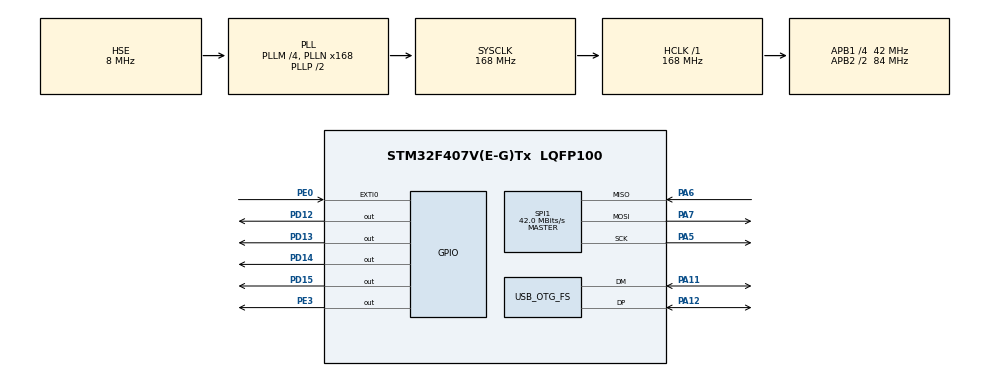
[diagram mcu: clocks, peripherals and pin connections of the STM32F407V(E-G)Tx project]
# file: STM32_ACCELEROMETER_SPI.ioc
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Mcu.Family=STM32F4
Mcu.Name=STM32F407V(E-G)Tx
Mcu.Package=LQFP100
NVIC.EXTI0_IRQn=true\:0\:0\:false\:false\:true\:true\:true\:true
NVIC.OTG_FS_IRQn=true\:0\:0\:false\:false\:true\:true\:true\:true
NVIC.PriorityGroup=NVIC_PRIORITYGROUP_0
PA11.Mode=Device_Only
PA11.Signal=USB_OTG_FS_DM
PA12.Mode=Device_Only
PA12.Signal=USB_OTG_FS_DP
PA13.Mode=Serial_Wire
PA13.Signal=SYS_JTMS-SWDIO
PA14.Mode=Serial_Wire
PA14.Signal=SYS_JTCK-SWCLK
PA5.Mode=Full_Duplex_Master
PA5.Signal=SPI1_SCK
PA6.Mode=Full_Duplex_Master
PA6.Signal=SPI1_MISO
PA7.Mode=Full_Duplex_Master
PA7.Signal=SPI1_MOSI
PD12.Signal=GPIO_Output
PD13.Signal=GPIO_Output
PD14.Signal=GPIO_Output
PD15.Signal=GPIO_Output
PE0.Signal=GPXTI0
PE3.PinState=GPIO_PIN_SET
PE3.Signal=GPIO_Output
PH0-OSC_IN.Mode=HSE-External-Oscillator
PH0-OSC_IN.Signal=RCC_OSC_IN
PH1-OSC_OUT.Mode=HSE-External-Oscillator
PH1-OSC_OUT.Signal=RCC_OSC_OUT
ProjectManager.HeapSize=0x200
ProjectManager.StackSize=0x400
ProjectManager.TargetToolchain=STM32CubeIDE
RCC.48MHZClocksFreq_Value=48000000
RCC.AHBFreq_Value=168000000
RCC.APB1CLKDivider=RCC_HCLK_DIV4
RCC.APB1Freq_Value=42000000
RCC.APB1TimFreq_Value=84000000
RCC.APB2CLKDivider=RCC_HCLK_DIV2
RCC.APB2Freq_Value=84000000
RCC.APB2TimFreq_Value=168000000
RCC.CortexFreq_Value=168000000
RCC.HCLKFreq_Value=168000000
RCC.HSE_VALUE=8000000
RCC.HSI_VALUE=16000000
RCC.LSE_VALUE=32768
RCC.PLLM=4
RCC.PLLN=168
RCC.PLLQ=7
RCC.SYSCLKFreq_VALUE=168000000
RCC.SYSCLKSource=RCC_SYSCLKSOURCE_PLLCLK
RCC.VCOOutputFreq_Value=336000000
SPI1.BaudRatePrescaler=SPI_BAUDRATEPRESCALER_2
SPI1.CalculateBaudRate=42.0 MBits/s
SPI1.Direction=SPI_DIRECTION_2LINES
SPI1.Mode=SPI_MODE_MASTER
SPI1.VirtualType=VM_MASTER
USB_DEVICE.CLASS_NAME_FS=CDC
USB_DEVICE.VirtualMode-CDC_FS=Cdc
USB_DEVICE.VirtualModeFS=Cdc_FS
USB_OTG_FS.VirtualMode=Device_Only
VP_USB_DEVICE_VS_USB_DEVICE_CDC_FS.Mode=CDC_FS
board=STM32F407G-DISC1

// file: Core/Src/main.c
/* USER CODE BEGIN Header */
/**
  ******************************************************************************
  * @file           : main.c
  * @brief          : Main program body
  ******************************************************************************
  * @attention
  *
  * Copyright (c) 2023 STMicroelectronics.
  * All rights reserved.
  *
  * This software is licensed under terms that can be found in the LICENSE file
  * in the root directory of this software component.
  * If no LICENSE file comes with this software, it is provided AS-IS.
  *
  ******************************************************************************
  */
/* USER CODE END Header */
#include "main.h"
#include "usb_device.h"

/* USER CODE BEGIN Includes */
#include "usbd_cdc_if.h"
/* USER CODE END Includes */

SPI_HandleTypeDef hspi1;

/* USER CODE BEGIN PV */
uint8_t buffer=0;
uint8_t g_data[1];
uint8_t datax=0;
uint8_t datay=0;
uint8_t dataz=0;
int x,y,z;

/* USER CODE END PV */

void SystemClock_Config(void);
static void MX_GPIO_Init(void);
static void MX_SPI1_Init(void);
/* USER CODE BEGIN PFP */
void write_acc(uint8_t address,uint8_t data)
{
	uint8_t l_address[2];
	l_address[0]=address;
	l_address[1]=data;
	HAL_GPIO_WritePin(GPIOE, GPIO_PIN_3, GPIO_PIN_RESET);
	HAL_SPI_Transmit(&hspi1, l_address, 2, 50);
	HAL_GPIO_WritePin(GPIOE, GPIO_PIN_3, GPIO_PIN_SET);

}
uint8_t read_acc(uint8_t address)
{
	uint8_t l_address[1];
	l_address[0]= address | 0x80;
	HAL_GPIO_WritePin(GPIOE, GPIO_PIN_3, GPIO_PIN_RESET);
	HAL_SPI_Transmit(&hspi1, l_address, 1, 50);
	HAL_SPI_Receive(&hspi1, g_data, 1, 50);
	HAL_GPIO_WritePin(GPIOE, GPIO_PIN_3, GPIO_PIN_SET);
	return g_data[0];

}

/* USER CODE END PFP */

int main(void)
{

  /* MCU Configuration--------------------------------------------------------*/

  /* Reset of all peripherals, Initializes the Flash interface and the Systick. */
  HAL_Init();

  /* Configure the system clock */
  SystemClock_Config();

  /* Initialize all configured peripherals */
  MX_GPIO_Init();
  MX_SPI1_Init();
  MX_USB_DEVICE_Init();
  /* USER CODE BEGIN 2 */
  write_acc(0x20, 0x17);
  buffer=read_acc(0x20);
  HAL_GPIO_WritePin(GPIOD, GPIO_PIN_15, GPIO_PIN_SET);
  write_acc(0x23, 0xC8);
  buffer=read_acc(0x23);

  /* USER CODE END 2 */

  /* Infinite loop */
  while (1)
  {

  }
}

void SystemClock_Config(void)
{
  RCC_OscInitTypeDef RCC_OscInitStruct = {0};
  RCC_ClkInitTypeDef RCC_ClkInitStruct = {0};

  /** Configure the main internal regulator output voltage
  */
  __HAL_RCC_PWR_CLK_ENABLE();
  __HAL_PWR_VOLTAGESCALING_CONFIG(PWR_REGULATOR_VOLTAGE_SCALE1);

  /** Initializes the RCC Oscillators according to the specified parameters
  * in the RCC_OscInitTypeDef structure.
  */
  RCC_OscInitStruct.OscillatorType = RCC_OSCILLATORTYPE_HSE;
  RCC_OscInitStruct.HSEState = RCC_HSE_ON;
  RCC_OscInitStruct.PLL.PLLState = RCC_PLL_ON;
  RCC_OscInitStruct.PLL.PLLSource = RCC_PLLSOURCE_HSE;
  RCC_OscInitStruct.PLL.PLLM = 4;
  RCC_OscInitStruct.PLL.PLLN = 168;
  RCC_OscInitStruct.PLL.PLLP = RCC_PLLP_DIV2;
  RCC_OscInitStruct.PLL.PLLQ = 7;
  if (HAL_RCC_OscConfig(&RCC_OscInitStruct) != HAL_OK)
  {
    Error_Handler();
  }

  /** Initializes the CPU, AHB and APB buses clocks
  */
  RCC_ClkInitStruct.ClockType = RCC_CLOCKTYPE_HCLK|RCC_CLOCKTYPE_SYSCLK
                              |RCC_CLOCKTYPE_PCLK1|RCC_CLOCKTYPE_PCLK2;
  RCC_ClkInitStruct.SYSCLKSource = RCC_SYSCLKSOURCE_PLLCLK;
  RCC_ClkInitStruct.AHBCLKDivider = RCC_SYSCLK_DIV1;
  RCC_ClkInitStruct.APB1CLKDivider = RCC_HCLK_DIV4;
  RCC_ClkInitStruct.APB2CLKDivider = RCC_HCLK_DIV2;

  if (HAL_RCC_ClockConfig(&RCC_ClkInitStruct, FLASH_LATENCY_5) != HAL_OK)
  {
    Error_Handler();
  }
}

static void MX_SPI1_Init(void)
{

  /* SPI1 parameter configuration*/
  hspi1.Instance = SPI1;
  hspi1.Init.Mode = SPI_MODE_MASTER;
  hspi1.Init.Direction = SPI_DIRECTION_2LINES;
  hspi1.Init.DataSize = SPI_DATASIZE_8BIT;
  hspi1.Init.CLKPolarity = SPI_POLARITY_LOW;
  hspi1.Init.CLKPhase = SPI_PHASE_1EDGE;
  hspi1.Init.NSS = SPI_NSS_SOFT;
  hspi1.Init.BaudRatePrescaler = SPI_BAUDRATEPRESCALER_2;
  hspi1.Init.FirstBit = SPI_FIRSTBIT_MSB;
  hspi1.Init.TIMode = SPI_TIMODE_DISABLE;
  hspi1.Init.CRCCalculation = SPI_CRCCALCULATION_DISABLE;
  hspi1.Init.CRCPolynomial = 10;
  if (HAL_SPI_Init(&hspi1) != HAL_OK)
  {
    Error_Handler();
  }

}

static void MX_GPIO_Init(void)
{
  GPIO_InitTypeDef GPIO_InitStruct = {0};

  /* GPIO Ports Clock Enable */
  __HAL_RCC_GPIOE_CLK_ENABLE();
  __HAL_RCC_GPIOH_CLK_ENABLE();
  __HAL_RCC_GPIOA_CLK_ENABLE();
  __HAL_RCC_GPIOD_CLK_ENABLE();

  /*Configure GPIO pin Output Level */
  HAL_GPIO_WritePin(GPIOE, GPIO_PIN_3, GPIO_PIN_SET);

  /*Configure GPIO pin Output Level */
  HAL_GPIO_WritePin(GPIOD, GPIO_PIN_12|GPIO_PIN_13|GPIO_PIN_14|GPIO_PIN_15, GPIO_PIN_RESET);

  /*Configure GPIO pin : PE3 */
  GPIO_InitStruct.Pin = GPIO_PIN_3;
  GPIO_InitStruct.Mode = GPIO_MODE_OUTPUT_PP;
  GPIO_InitStruct.Pull = GPIO_NOPULL;
  GPIO_InitStruct.Speed = GPIO_SPEED_FREQ_LOW;
  HAL_GPIO_Init(GPIOE, &GPIO_InitStruct);

  /*Configure GPIO pins : PD12 PD13 PD14 PD15 */
  GPIO_InitStruct.Pin = GPIO_PIN_12|GPIO_PIN_13|GPIO_PIN_14|GPIO_PIN_15;
  GPIO_InitStruct.Mode = GPIO_MODE_OUTPUT_PP;
  GPIO_InitStruct.Pull = GPIO_NOPULL;
  GPIO_InitStruct.Speed = GPIO_SPEED_FREQ_LOW;
  HAL_GPIO_Init(GPIOD, &GPIO_InitStruct);

  /*Configure GPIO pin : PE0 */
  GPIO_InitStruct.Pin = GPIO_PIN_0;
  GPIO_InitStruct.Mode = GPIO_MODE_IT_RISING;
  GPIO_InitStruct.Pull = GPIO_NOPULL;
  HAL_GPIO_Init(GPIOE, &GPIO_InitStruct);

  /* EXTI interrupt init*/
  HAL_NVIC_SetPriority(EXTI0_IRQn, 0, 0);
  HAL_NVIC_EnableIRQ(EXTI0_IRQn);

}

/* USER CODE BEGIN 4 */
void HAL_GPIO_EXTI_Callback(uint16_t GPIO_Pin)
{
	char veri[100];
	datax=read_acc(0x29);
	datay=read_acc(0x2B);
	dataz=read_acc(0x2D);
	x=datax;
	y=datay;
	z=dataz;
	sniprintf(veri,sizeof(veri),"X: %d  Y: %d X: %d.\n",x,y,z);
	CDC_Transmit_FS(veri, strlen(veri));

}

/* USER CODE END 4 */

void Error_Handler(void)
{
  __disable_irq();
  while (1)
  {
  }
}
